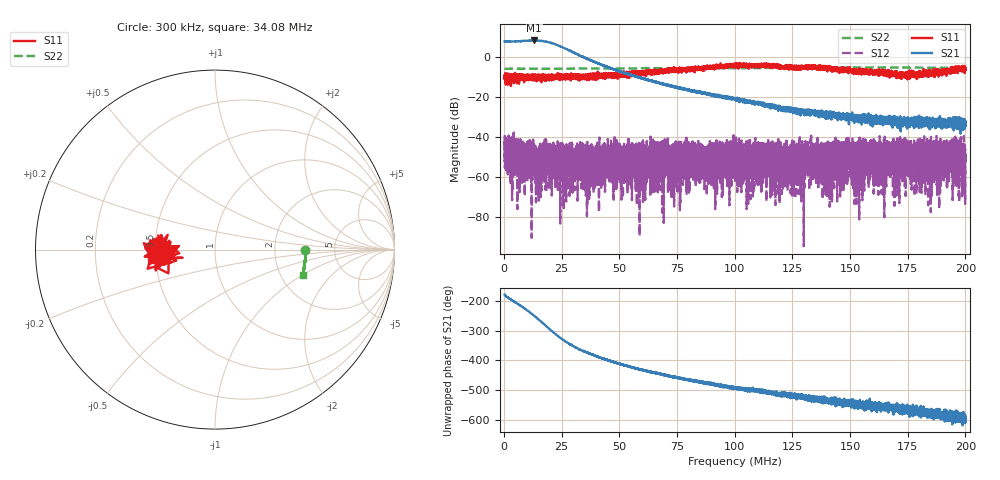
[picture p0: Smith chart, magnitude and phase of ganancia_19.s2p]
# Hz S DB R 50
! CMT, M5065, 19127446, 24.2.4/2
! Date: 10/29/2024 12:14:51 PM
! Data: Format (Calibration Info)
! Freq	S11:dB/Ang(F2)	S21:dB/Ang(F2)	S12:dB/Ang(F2)	S22:dB/Ang(F2)
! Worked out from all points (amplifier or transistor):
!   9000 points, 300 kHz to 200 MHz, reference 50 ohm
!   highest |S21| = 8.2 dB at 13.06 MHz (marker M1)
!   |S21| within 3 dB of that: start of sweep to 24.53 MHz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
!   unconditionally stable (mu >= 1): start of sweep to end of sweep
!   at 33.59 MHz: K = 83.05, MAG = 2.1 dB, |S12| = -48.3 dB
!   at 100.2 MHz: K = 368.53, MAG = -17.2 dB, |S12| = -44.0 dB
!   at 200 MHz: K = 5044.85, MAG = -31.6 dB, |S12| = -51.5 dB
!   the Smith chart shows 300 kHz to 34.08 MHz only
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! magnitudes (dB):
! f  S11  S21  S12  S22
! 300 kHz  -10.2  7.7  -42.3  -6.0
! 7.534 MHz  -10.3  7.9  -50.4  -5.9
! 13.06 MHz  -11.1  8.2  -48.4  -5.9
! 15.06 MHz  -10.7  8.1  -49.0  -5.9
! 18.19 MHz  -9.7  7.6  -53.8  -5.9
! 29.99 MHz  -8.7  2.3  -53.5  -5.9
! 33.59 MHz  -10.2  0.3  -48.3  -5.8
! 36.01 MHz  -10.4  -0.9  -58.4  -5.8
! 45.59 MHz  -9.6  -5.2  -50.7  -5.8
! 47.68 MHz  -9.7  -6.2  -51.5  -5.8
! 66.87 MHz  -7.5  -13.0  -47.8  -5.7
! 100.2 MHz  -3.7  -21.0  -44.0  -5.6
! 125.3 MHz  -4.8  -27.0  -56.5  -5.4
! 133.4 MHz  -4.1  -26.6  -53.8  -5.3
! 141.5 MHz  -6.5  -28.2  -42.8  -5.3
! 148.5 MHz  -6.5  -29.0  -44.4  -5.2
! 153.7 MHz  -8.0  -31.9  -42.3  -5.3
! 155.7 MHz  -7.1  -29.0  -54.1  -5.3
! 166.7 MHz  -7.8  -31.5  -47.0  -5.3
! 188.3 MHz  -9.0  -34.4  -43.9  -5.4
! 191 MHz  -8.2  -33.9  -48.2  -5.4
! 200 MHz  -5.3  -34.6  -51.5  -5.5
